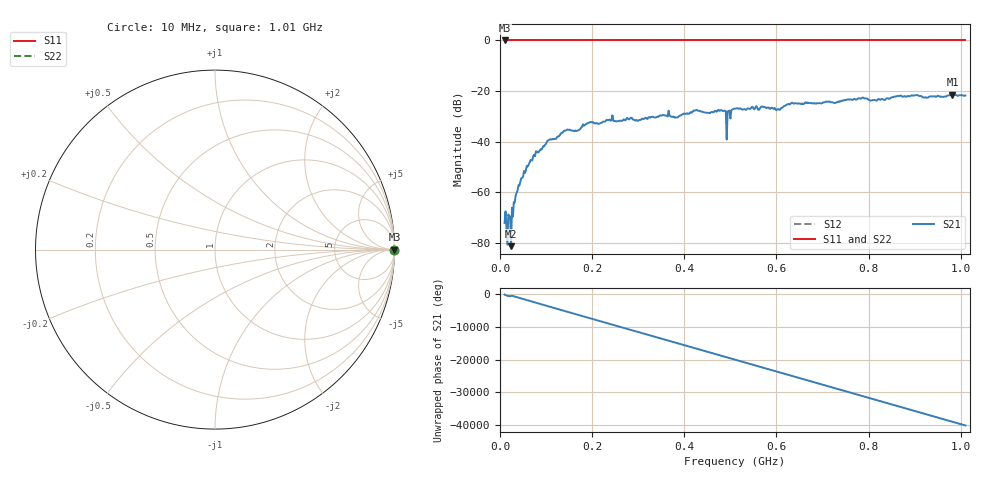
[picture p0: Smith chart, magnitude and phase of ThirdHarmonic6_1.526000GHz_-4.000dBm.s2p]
! 8/16/2025 6:02:02 PM
! C:\ANRITSUVNA\TEMP\TEMP.S2P
! CHANNEL.1
! TR.MEASUREMENT
! RAW.DATA
! RF.CORRECTION.OFF
! AVERAGING.OFF
! IF.BANDWIDTH: 5KHZ
! SWEEPTYPE:  FREQ.SWEEP(Linear)
! Reference Plane Port Info
! PORT:  PORT1  PORT2
! DISTANCE:  0  m  0  m
! TIME:  0  s  0  s
! PHASE.OFFSET:  0  deg.  0  deg.
! LOSS:  0  dB  0  dB
! REF.LOSS:  0  dB  0  dB
! REF.FREQ:  0  Hz  0  Hz
! Power Info
! POWER:  -20  dBm  -20  dBm
! EFF.POWER:  -20  dBm  -20  dBm
! SOURCE.ATTEN:  0  dB  0  dB
! TEST.ATTEN:  0  dB  0  dB
# GHZ S RI R 50.0
! FREQ.GHZ  S11RE  S11IM  S21RE  S21IM  S12RE  S12IM  S22RE  S22IM
!; PortSelection: Port_12
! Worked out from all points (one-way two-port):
!   501 points, 10 MHz to 1.01 GHz, reference 50 ohm
!   highest |S21| = -21.37 dB at 982 MHz (marker M1); lowest = -81.2 dB at 24 MHz (marker M2)
!   lowest |S11| = 0.0 dB at 10 MHz (marker M3)
!   |S11| at or under -10 dB: nowhere
!   |S22| runs from 0.0 to 0.0 dB; largest |S21 - S12| = 1.1
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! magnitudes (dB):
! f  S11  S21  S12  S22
! 10 MHz  0.0  -72.1  0.0  0.0
! 20 MHz  0.0  -69.4  0.0  0.0
! 22 MHz  0.0  -69.5  0.0  0.0
! 24 MHz  0.0  -81.2  0.0  0.0
! 28 MHz  0.0  -69.5  0.0  0.0
! 34 MHz  0.0  -61.1  0.0  0.0
! 44 MHz  0.0  -55.9  0.0  0.0
! 76 MHz  0.0  -45.7  0.0  0.0
! 142 MHz  0.0  -35.6  0.0  0.0
! 178 MHz  0.0  -34.1  0.0  0.0
! 240 MHz  0.0  -31.7  0.0  0.0
! 344 MHz  0.0  -30.2  0.0  0.0
! 478 MHz  0.0  -27.7  0.0  0.0
! 496 MHz  0.0  -27.8  0.0  0.0
! 498 MHz  0.0  -27.7  0.0  0.0
! 510 MHz  0.0  -26.9  0.0  0.0
! 604 MHz  0.0  -27.1  0.0  0.0
! 630 MHz  0.0  -25.1  0.0  0.0
! 678 MHz  0.0  -24.8  0.0  0.0
! 844 MHz  0.0  -23.1  0.0  0.0
! 982 MHz  0.0  -21.4  0.0  0.0
! 1.01 GHz  0.0  -21.7  0.0  0.0
